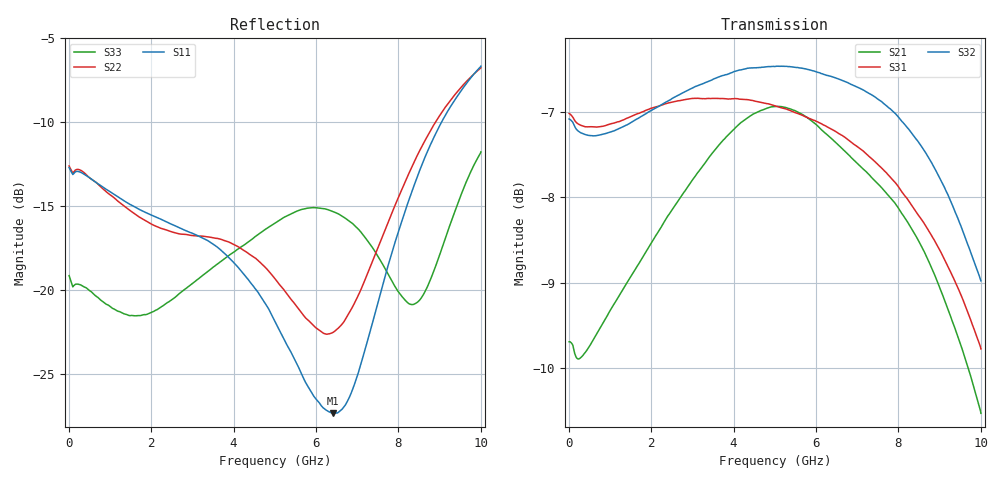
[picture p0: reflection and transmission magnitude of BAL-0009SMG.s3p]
! MARKI MICROWAVE INC.
! Email:  info@markimicrowave.com  Phone:  408-778-4200
! Model Number:  BAL-0009SMG  Date:  11/13
! Filename:		BAL-0009SMG.S3P  Version: 2.0
! Description:  3-port S-parameter data for Balun BAL-0009SMG
! Frequency Range: 	10 MHz to 10 GHz
! Port Configuration:	PORT 1: OUTPUT (0 DEGREE), PORT 2: OUTPUT (180 DEGREE), PORT 3:COMMON
! S3P File: Measurements: Mag<S11> Ang<S11> Mag<S12> Ang<S12> Mag<S13> Ang<S13>! row 1
!  Mag<S21> Ang<S21> Mag<S22> Ang<S22> Mag<S23> Ang<S23>! row 2
!  Mag<S31> Ang<S31> Mag<S32> Ang<S32> Mag<S33> Ang<S33>! row 3
# Hz S  dB  R 50
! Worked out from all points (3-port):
!   668 points, 10 MHz to 10 GHz, reference 50 ohm
!   strongest paths, dB at 10 MHz, 2.513 GHz, 5.016 GHz, 7.519 GHz, 10 GHz:
!     S32: -7.1, -6.8, -6.5, -6.9, -9.0
!     S31: -7.0, -6.9, -6.9, -7.6, -9.8
!     S21: -9.7, -8.1, -6.9, -7.8, -10.5
!   lowest |S11| = -27.4 dB at 6.41 GHz (marker M1), VSWR 1.09, Z = 51.9 + j3.92 ohm
!   |S11| at or under -10 dB: start of sweep to 9.044 GHz
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1e7  -12.70 166.7  -9.70 3.1  -7.02 -2.1
     -9.69 3.1  -12.61 165.9  -7.06 177.7
     -7.02 -0.7  -7.08 179.1  -19.15 162.3
9.99175e8  -14.14 111.4  -9.34 -70.0  -7.15 -86.8
           -9.33 -70.0  -14.32 105.3  -7.24 91.6
           -7.14 -86.8  -7.24 91.6  -20.97 107.1
1.943388e9  -15.47 54.2  -8.59 -140.6  -6.97 -169.5
            -8.58 -140.6  -15.98 46.0  -7.00 8.0
            -6.97 -169.5  -7.00 8.0  -21.41 54.8
3.1274e9  -16.76 -23.1  -7.72 127.3  -6.84 85.2
          -7.71 127.2  -16.78 -29.2  -6.69 -98.3
          -6.84 85.1  -6.69 -98.4  -19.38 -13.0
4.071612e9  -18.55 -94.5  -7.17 51.1  -6.85 0.5
            -7.17 51.1  -17.37 -96.0  -6.52 176.3
            -6.84 0.4  -6.52 176.2  -17.62 -66.5
5.015825e9  -21.94 -178.1  -6.94 -26.8  -6.93 -84.6
            -6.94 -26.8  -19.37 -169.6  -6.46 90.8
            -6.93 -84.7  -6.47 90.7  -15.99 -120.9
6.409662e9  -27.36 61.5  -7.33 -142.2  -7.22 148.9
            -7.33 -142.3  -22.54 79.8  -6.60 -35.4
            -7.21 148.8  -6.59 -35.5  -15.33 148.7
7.968362e9  -16.76 -12.1  -8.10 89.7  -7.86 6.6
            -8.10 89.6  -14.66 -34.4  -7.05 -176.8
            -7.85 6.6  -7.04 -176.8  -20.01 41.0
8.927562e9  -10.56 -81.6  -8.96 9.6  -8.57 -80.7
            -8.97 9.5  -9.88 -107.3  -7.71 96.1
            -8.55 -80.6  -7.70 96.1  -18.41 -0.2
1e10  -6.65 -163.4  -10.48 -79.6  -9.79 -175.9
      -10.53 -79.9  -6.74 169.8  -8.98 1.3
      -9.78 -176.1  -8.98 1.2  -11.76 -88.2
